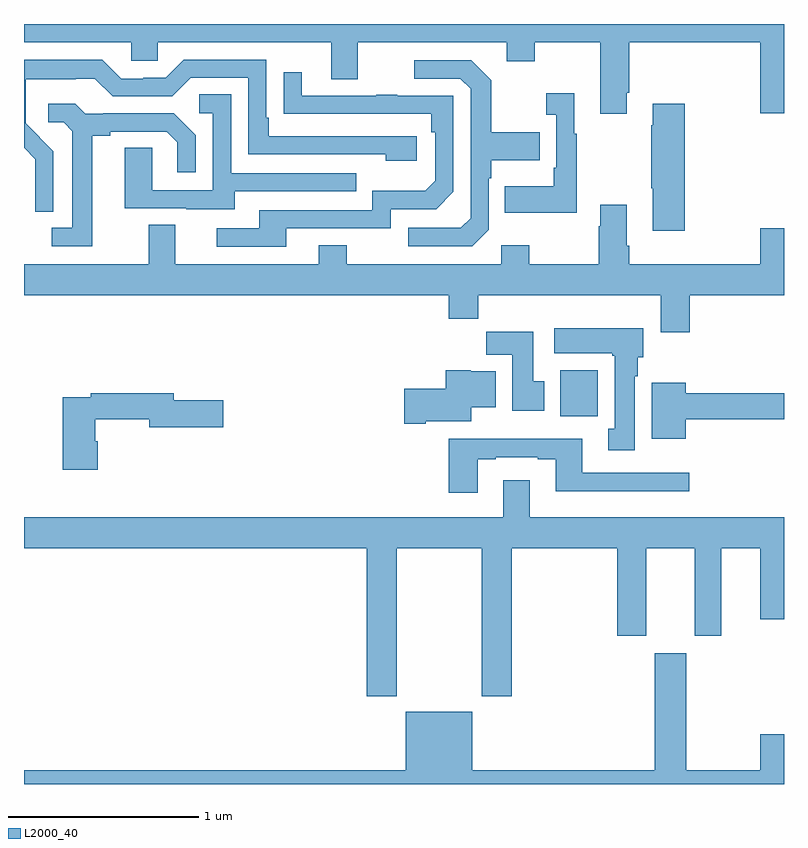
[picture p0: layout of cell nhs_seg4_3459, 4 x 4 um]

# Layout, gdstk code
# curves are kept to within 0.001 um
import gdstk
lib = gdstk.Library(unit=1e-6, precision=1e-09)
def R(c, l, rs):  # rectangles x0, y0, x1, y1
    for r in rs: c.add(gdstk.rectangle(r[:2], r[2:], *l))
def P(c, l, *ps):  # polygons
    for p in ps: c.add(gdstk.Polygon(p, *l))
L2000_40 = (2000, 40)

nhs_seg4_3459 = lib.new_cell('nhs_seg4_3459')
R(nhs_seg4_3459, L2000_40, [(295.823,810.836,296.02,811.078)])
P(nhs_seg4_3459, L2000_40, [(296.173,812.539),(296.186,812.539),(296.186,812.804),(296.876,812.804),(296.876,812.43),(297,812.43),(297,812.9),(293,812.9),(293,812.804),(293.565,812.804),(293.565,812.706),(293.703,812.706),(293.703,812.804),(294.617,812.804),(294.617,812.61),(294.757,812.61),(294.757,812.804),(295.541,812.804),(295.541,812.705),(295.689,812.705),(295.689,812.804),(296.033,812.804),(296.033,812.427),(296.173,812.427)],
  [(293.154,812.23),(293.008,812.378),(293.008,812.475),(293.01,812.475),(293.01,812.609),(293.273,812.609),(293.273,812.613),(293.373,812.613),(293.466,812.52),(293.781,812.52),(293.877,812.616),(294.18,812.616),(294.18,812.214),(294.905,812.214),(294.905,812.18),(295.066,812.18),(295.066,812.31),(294.289,812.31),(294.289,812.407),(294.276,812.407),(294.276,812.712),(293.841,812.712),(293.745,812.616),(293.627,812.616),(293.627,812.613),(293.511,812.613),(293.411,812.713),(293,812.713),(293,812.248),(293.06,812.189),(293.06,812.066),(293.058,812.066),(293.058,811.912),(293.154,811.912)],
  [(295.446,811.818),(295.446,812.087),(295.459,812.087),(295.459,812.183),(295.715,812.183),(295.715,812.331),(295.459,812.331),(295.459,812.603),(295.353,812.709),(295.053,812.709),(295.053,812.613),(295.296,812.613),(295.35,812.559),(295.35,811.878),(295.299,811.827),(295.023,811.827),(295.023,811.731),(295.359,811.731)],
  [(294.379,811.824),(294.93,811.824),(294.93,811.926),(295.17,811.926),(295.26,812.016),(295.26,812.523),(294.965,812.523),(294.965,812.528),(294.853,812.528),(294.853,812.523),(294.463,812.523),(294.463,812.647),(294.367,812.647),(294.367,812.428),(295.144,812.427),(295.144,812.33),(295.164,812.33),(295.164,812.076),(295.111,812.023),(294.834,812.023),(294.834,811.92),(294.239,811.92),(294.239,811.824),(294.015,811.824),(294.015,811.728),(294.379,811.728)],
  [(295.909,812.323),(295.897,812.323),(295.897,812.536),(295.749,812.536),(295.749,812.423),(295.8,812.423),(295.8,812.143),(295.788,812.143),(295.788,812.047),(295.531,812.047),(295.531,811.907),(295.909,811.907)],
  [(294.109,812.019),(294.749,812.019),(294.749,812.115),(294.09,812.115),(294.09,812.531),(293.922,812.531),(293.922,812.43),(293.994,812.43),(293.994,812.025),(293.676,812.025),(293.676,812.249),(293.531,812.249),(293.531,811.929),(293.855,811.929),(293.855,811.925),(294.109,811.925)],
  [(293.359,812.312),(293.455,812.312),(293.455,812.334),(293.75,812.334),(293.807,812.277),(293.807,812.121),(293.904,812.121),(293.904,812.314),(293.788,812.43),(293.416,812.43),(293.416,812.427),(293.322,812.427),(293.27,812.479),(293.127,812.479),(293.127,812.382),(293.208,812.382),(293.255,812.335),(293.255,811.827),(293.145,811.827),(293.145,811.731),(293.359,811.731)],
  [(296.477,812.479),(296.309,812.479),(296.309,812.366),(296.302,812.366),(296.302,812.035),(296.309,812.035),(296.309,811.812),(296.477,811.812)],
  [(296.504,811.472),(297,811.472),(297,811.825),(296.876,811.825),(296.876,811.636),(296.186,811.636),(296.186,811.732),(296.173,811.732),(296.173,811.948),(296.033,811.948),(296.033,811.835),(296.026,811.835),(296.026,811.636),(295.659,811.636),(295.659,811.735),(295.512,811.735),(295.512,811.636),(294.699,811.636),(294.699,811.735),(294.551,811.735),(294.551,811.636),(293.797,811.636),(293.797,811.844),(293.657,811.844),(293.657,811.636),(293,811.636),(293,811.472),(295.235,811.472),(295.235,811.348),(295.391,811.348),(295.391,811.472),(296.351,811.472),(296.351,811.278),(296.504,811.278)],
  [(296.215,811.046),(296.23,811.046),(296.23,811.146),(296.26,811.146),(296.26,811.3),(295.791,811.3),(295.791,811.166),(296.095,811.166),(296.095,811.153),(296.108,811.153),(296.108,810.77),(296.075,810.77),(296.075,810.657),(296.215,810.657)],
  [(295.738,811.02),(295.681,811.02),(295.681,811.279),(295.432,811.279),(295.432,811.16),(295.571,811.16),(295.571,810.864),(295.738,810.864)],
  [(295.114,810.809),(295.354,810.809),(295.354,810.884),(295.483,810.884),(295.483,811.072),(295.35,811.072),(295.35,811.078),(295.22,811.078),(295.22,810.98),(295.002,810.98),(295.002,810.797),(295.114,810.797)],
  [(296.482,810.82),(297,810.82),(297,810.956),(296.482,810.956),(296.482,811.012),(296.303,811.012),(296.303,810.716),(296.482,810.716)],
  [(293.387,810.705),(293.374,810.705),(293.374,810.82),(293.66,810.82),(293.66,810.778),(294.049,810.778),(294.049,810.92),(293.788,810.92),(293.788,810.956),(293.35,810.956),(293.35,810.936),(293.204,810.936),(293.204,810.555),(293.387,810.555)],
  [(295.387,810.609),(295.483,810.609),(295.483,810.621),(295.703,810.621),(295.703,810.609),(295.799,810.609),(295.799,810.44),(296.5,810.44),(296.5,810.537),(295.939,810.537),(295.939,810.718),(295.235,810.718),(295.235,810.432),(295.387,810.432)],
  [(294.963,810.14),(295.408,810.14),(295.408,809.361),(295.568,809.361),(295.568,810.14),(296.123,810.14),(296.123,809.679),(296.275,809.679),(296.275,810.14),(296.531,810.14),(296.531,809.679),(296.671,809.679),(296.671,810.14),(296.876,810.14),(296.876,809.766),(297,809.766),(297,810.304),(295.663,810.304),(295.663,810.499),(295.523,810.499),(295.523,810.304),(293,810.304),(293,810.14),(294.803,810.14),(294.803,809.361),(294.963,809.361)],
  [(297,809.161),(296.876,809.161),(296.876,808.972),(296.485,808.972),(296.485,809.587),(296.321,809.587),(296.321,808.972),(295.36,808.972),(295.36,809.281),(295.01,809.281),(295.01,808.972),(293,808.972),(293,808.9),(297,808.9)])

lib.write_gds('nhs_seg4_3459.gds')
